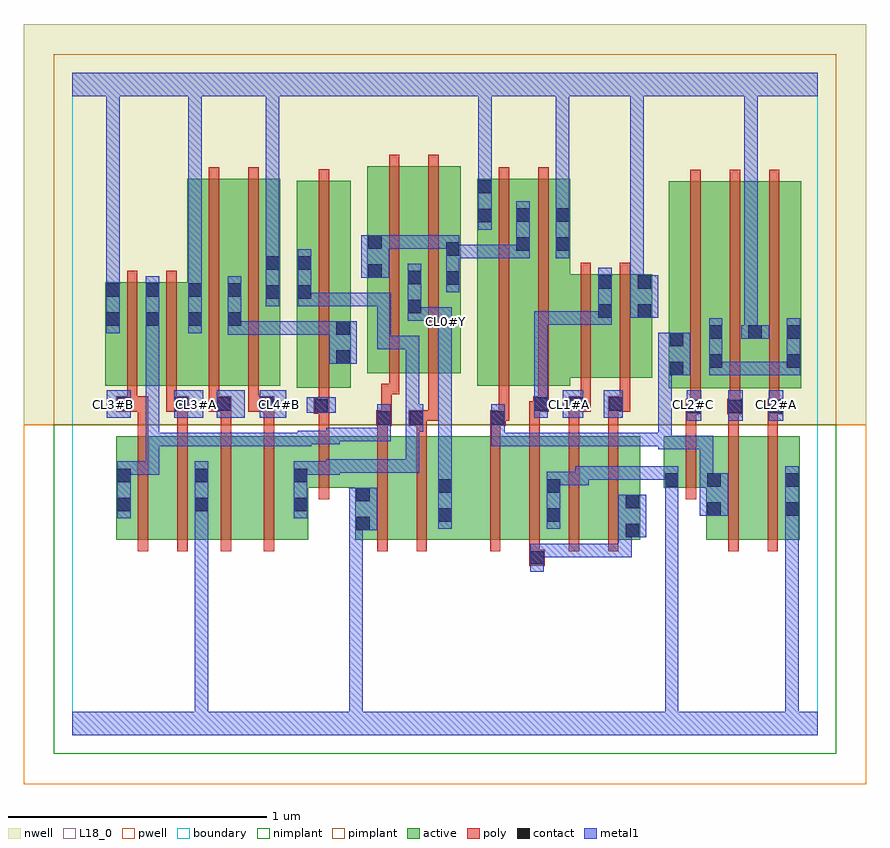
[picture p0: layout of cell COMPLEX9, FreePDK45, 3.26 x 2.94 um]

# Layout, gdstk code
import gdstk
lib = gdstk.Library(unit=1e-6, precision=1e-09)
def R(c, l, rs):  # rectangles x0, y0, x1, y1
    for r in rs: c.add(gdstk.rectangle(r[:2], r[2:], *l))
def A(c, l, x, y, w, h, nx, ny, dx, dy):  # array of equal rectangles
    R(c, l, [(x+i*dx, y+j*dy, x+i*dx+w, y+j*dy+h) for i in range(nx) for j in range(ny)])
active = (1, 0)
pwell = (2, 0)
nwell = (3, 0)
nimplant = (4, 0)
pimplant = (5, 0)
poly = (9, 0)
contact = (10, 0)
metal1 = (11, 0)
L18_0 = (18, 0)
boundary = (235, 0)

complex9 = lib.new_cell('COMPLEX9')
R(complex9, active, [(0.17,0.756,0.23,1.156), (0.17,0.756,0.35,1.156), (0.35,0.756,0.53,1.156), (0.47,0.756,0.53,1.156), (0.47,0.756,0.684,1.156), (0.684,0.756,0.912,1.156), (1.094,0.756,1.154,1.156), (1.094,0.756,1.274,1.156), (1.274,0.756,1.47,1.156), (1.41,0.756,1.47,1.156), (1.41,0.756,1.71,1.156), (1.71,0.756,1.89,1.156), (1.83,0.756,1.89,1.156), (1.83,0.756,2.014,1.156), (2.014,0.756,2.194,1.156), (2.134,0.756,2.194,1.156), (2.45,0.756,2.51,1.156), (2.45,0.756,2.63,1.156), (2.63,0.756,2.81,1.156), (2.75,0.756,2.81,1.156), (0.852,0.862,0.912,1.156), (0.852,0.956,1.154,1.156), (2.286,0.956,2.51,1.156), (2.286,0.956,2.346,1.156), (2.304,1.34,2.364,2.044), (2.304,1.34,2.516,2.14), (2.456,1.34,2.516,2.044), (2.456,1.34,2.668,2.14), (2.608,1.34,2.816,2.14), (2.608,1.34,2.668,2.14), (2.756,1.34,2.816,2.044), (0.868,1.342,1.076,2.142), (0.868,1.342,0.928,2.044), (1.016,1.342,1.076,2.044), (0.128,1.35,0.188,1.75), (0.128,1.35,0.34,1.75), (0.28,1.35,0.34,1.75), (0.28,1.35,0.504,1.75), (0.444,1.35,0.504,2.15), (0.444,1.35,0.656,2.15), (0.596,1.35,0.804,2.15), (0.596,1.35,0.656,2.044), (0.744,1.35,0.804,2.044), (1.564,1.35,1.772,2.15), (1.564,1.35,1.624,2.15), (1.712,1.35,1.924,2.15), (1.864,1.382,2.088,1.782), (1.864,1.382,1.924,2.04), (2.028,1.382,2.24,1.782), (2.18,1.382,2.24,1.782), (1.14,1.398,1.352,2.198), (1.292,1.398,1.5,2.198), (1.44,1.398,1.5,2.044), (1.14,1.452,1.2,2.044), (2.028,1.474,2.088,1.782), (1.292,1.626,1.352,2.044), (1.712,1.686,1.772,2.044)])
R(complex9, pwell, [(-0.188,-0.188,3.068,1.2)])
R(complex9, nwell, [(-0.188,1.2,3.068,2.748)])
R(complex9, nimplant, [(-0.072,-0.072,2.952,1.2)])
R(complex9, pimplant, [(-0.072,1.2,2.952,2.632)])
A(complex9, poly, 1.614, 0.712, 0.04, 0.488, 4, 1, 0.152, 0)
A(complex9, poly, 1.766, 1.16, 0.04, 0.13, 3, 1, 0.152, 0)
A(complex9, poly, 2.388, 1.26, 0.04, 0.076, 3, 1, 0.152, 0)
A(complex9, poly, 2.388, 1.296, 0.04, 0.888, 3, 1, 0.152, 0)
R(complex9, poly, [(1.766,0.656,1.826,0.716), (1.766,0.676,1.806,0.752), (0.254,0.712,0.294,1.2), (0.406,0.712,0.446,1.2), (0.574,0.712,0.614,1.2), (0.74,0.712,0.78,1.2), (1.178,0.712,1.218,1.2), (1.33,0.712,1.37,1.2), (2.534,0.712,2.574,1.2), (2.686,0.712,2.726,1.2), (0.952,0.912,0.992,1.2), (2.37,0.912,2.41,1.2), (0.254,1.16,0.294,1.29), (0.406,1.16,0.446,1.29), (0.574,1.16,0.614,1.29), (0.74,1.16,0.78,1.29), (0.952,1.16,0.992,1.282), (1.178,1.16,1.218,1.236), (1.33,1.16,1.37,1.236), (1.614,1.16,1.654,1.236), (2.37,1.16,2.41,1.28), (2.534,1.16,2.574,1.28), (2.686,1.16,2.726,1.28), (1.174,1.196,1.234,1.256), (1.3,1.196,1.37,1.256), (1.614,1.196,1.674,1.256), (1.194,1.216,1.234,1.358), (1.33,1.216,1.37,1.256), (1.33,1.216,1.416,1.256), (1.376,1.216,1.416,1.394), (1.634,1.216,1.674,1.256), (1.634,1.216,1.688,1.256), (1.648,1.216,1.688,1.346), (2.37,1.24,2.41,1.28), (2.37,1.24,2.41,1.28), (2.37,1.24,2.43,1.3), (2.53,1.24,2.59,1.3), (2.686,1.24,2.746,1.3), (0.932,1.242,0.992,1.302), (0.952,1.242,0.992,1.282), (0.952,1.242,0.992,1.282), (0.17,1.25,0.294,1.31), (0.364,1.25,0.45,1.31), (0.406,1.25,0.446,1.29), (0.406,1.25,0.446,1.29), (0.528,1.25,0.614,1.31), (0.574,1.25,0.614,1.29), (0.574,1.25,0.614,1.29), (0.68,1.25,0.78,1.31), (0.74,1.25,0.78,1.29), (0.74,1.25,0.78,1.29), (1.766,1.25,1.82,1.29), (1.78,1.25,1.82,1.29), (1.78,1.25,1.84,1.31), (1.918,1.25,1.958,1.29), (1.918,1.25,1.958,1.29), (1.918,1.25,2.004,1.31), (2.07,1.25,2.11,1.29), (2.07,1.25,2.11,1.29), (2.07,1.25,2.156,1.31), (2.54,1.26,2.58,1.3), (2.54,1.26,2.58,1.3), (2.692,1.26,2.732,1.3), (2.692,1.26,2.732,1.3), (0.952,1.262,0.992,1.338), (0.212,1.27,0.252,1.346), (0.212,1.27,0.252,1.31), (0.212,1.27,0.252,1.31), (0.364,1.27,0.404,1.346), (0.528,1.27,0.568,1.346), (0.68,1.27,0.72,1.346), (1.8,1.27,1.84,1.346), (1.964,1.27,2.004,1.378), (2.116,1.27,2.156,1.378), (0.952,1.298,0.992,2.186), (0.212,1.306,0.252,1.794), (0.364,1.306,0.404,1.794), (0.528,1.306,0.568,2.194), (0.68,1.306,0.72,2.194), (1.648,1.306,1.688,2.194), (1.8,1.306,1.84,2.194), (1.194,1.318,1.264,1.358), (1.224,1.318,1.264,1.394), (1.964,1.338,2.004,1.826), (2.116,1.338,2.156,1.826), (1.224,1.354,1.264,2.242), (1.376,1.354,1.416,2.242)])
R(complex9, contact, [(1.77,0.66,1.822,0.712), (2.138,0.766,2.19,0.818), (1.098,0.792,1.15,0.844), (1.414,0.826,1.466,0.878), (1.834,0.826,1.886,0.878), (2.454,0.848,2.506,0.9), (2.754,0.848,2.806,0.9), (0.174,0.866,0.226,0.918), (0.474,0.866,0.526,0.918), (0.856,0.866,0.908,0.918), (2.138,0.878,2.19,0.93), (1.098,0.904,1.15,0.956), (1.414,0.938,1.466,0.99), (1.834,0.938,1.886,0.99), (2.29,0.96,2.342,1.012), (2.454,0.96,2.506,1.012), (2.754,0.96,2.806,1.012), (0.174,0.978,0.226,1.03), (0.474,0.978,0.526,1.03), (0.856,0.978,0.908,1.03), (1.178,1.2,1.23,1.252), (1.304,1.2,1.356,1.252), (1.618,1.2,1.67,1.252), (2.374,1.244,2.426,1.296), (2.534,1.244,2.586,1.296), (2.69,1.244,2.742,1.296), (0.936,1.246,0.988,1.298), (0.174,1.254,0.226,1.306), (0.394,1.254,0.446,1.306), (0.558,1.254,0.61,1.306), (0.724,1.254,0.776,1.306), (1.784,1.254,1.836,1.306), (1.922,1.254,1.974,1.306), (2.074,1.254,2.126,1.306), (2.308,1.392,2.36,1.444), (2.46,1.42,2.512,1.472), (2.76,1.42,2.812,1.472), (1.02,1.436,1.072,1.488), (2.308,1.504,2.36,1.556), (2.46,1.532,2.512,1.584), (2.612,1.532,2.664,1.584), (2.76,1.532,2.812,1.584), (1.02,1.548,1.072,1.6), (0.132,1.582,0.184,1.634), (0.284,1.582,0.336,1.634), (0.448,1.582,0.5,1.634), (0.6,1.582,0.652,1.634), (2.032,1.614,2.084,1.666), (2.184,1.614,2.236,1.666), (1.296,1.63,1.348,1.682), (0.748,1.686,0.8,1.738), (0.872,1.686,0.924,1.738), (0.132,1.694,0.184,1.746), (0.284,1.694,0.336,1.746), (0.448,1.694,0.5,1.746), (0.6,1.694,0.652,1.746), (2.032,1.726,2.084,1.778), (2.184,1.726,2.236,1.778), (1.444,1.74,1.496,1.792), (1.296,1.742,1.348,1.794), (1.144,1.768,1.196,1.82), (0.748,1.798,0.8,1.85), (0.872,1.798,0.924,1.85), (1.444,1.852,1.496,1.904), (1.716,1.872,1.768,1.924), (1.868,1.872,1.92,1.924), (1.144,1.88,1.196,1.932), (1.568,1.982,1.62,2.034), (1.716,1.984,1.768,2.036), (1.868,1.984,1.92,2.036), (1.568,2.094,1.62,2.146)])
R(complex9, metal1, [(0,0,2.88,0.092), (0.474,0.04,0.526,0.89), (1.07,0.04,1.122,0.844), (2.29,0.04,2.342,0.092), (2.29,0.04,2.342,0.092), (2.29,0.04,2.342,0.092), (2.29,0.04,2.342,0.092), (2.29,0.04,2.342,0.092), (2.29,0.04,2.342,0.092), (2.29,0.04,2.342,0.092), (2.29,0.04,2.342,0.092), (2.29,0.04,2.342,0.092), (2.29,0.04,2.342,0.092), (2.29,0.04,2.342,0.092), (2.29,0.04,2.342,0.092), (2.29,0.04,2.342,0.984), (2.754,0.04,2.806,0.092), (2.754,0.04,2.806,0.092), (2.754,0.04,2.806,0.092), (2.754,0.04,2.806,0.092), (2.754,0.04,2.806,0.092), (2.754,0.04,2.806,0.092), (2.754,0.04,2.806,0.092), (2.754,0.04,2.806,0.092), (2.754,0.04,2.806,0.092), (2.754,0.04,2.806,0.092), (2.754,0.04,2.806,0.872), (1.77,0.632,1.822,0.74), (1.77,0.688,1.822,0.74), (1.77,0.688,1.822,0.74), (1.77,0.688,1.996,0.74), (1.944,0.688,1.996,0.74), (1.944,0.688,1.996,0.74), (1.944,0.688,1.996,0.74), (1.944,0.688,2.162,0.74), (2.11,0.688,2.162,0.74), (2.11,0.688,2.162,0.74), (2.11,0.688,2.162,0.74), (2.11,0.688,2.162,0.818), (2.11,0.766,2.218,0.93), (1.07,0.792,1.122,0.844), (1.07,0.792,1.122,0.844), (1.07,0.792,1.122,0.844), (1.07,0.792,1.122,0.844), (1.07,0.792,1.122,0.844), (1.07,0.792,1.122,0.844), (1.07,0.792,1.122,0.844), (1.07,0.792,1.122,0.844), (1.07,0.792,1.122,0.844), (1.07,0.792,1.122,0.844), (1.07,0.792,1.122,0.844), (1.07,0.792,1.122,0.844), (1.07,0.792,1.178,0.956), (1.414,0.798,1.466,1.018), (1.834,0.798,1.886,1.018), (2.754,0.82,2.806,0.872), (2.754,0.82,2.806,0.872), (2.754,0.82,2.806,1.04), (0.174,0.838,0.226,1.058), (0.474,0.838,0.526,0.89), (0.474,0.838,0.526,0.89), (0.474,0.838,0.526,0.89), (0.474,0.838,0.526,0.89), (0.474,0.838,0.526,0.89), (0.474,0.838,0.526,0.89), (0.474,0.838,0.526,0.89), (0.474,0.838,0.526,0.89), (0.474,0.838,0.526,0.89), (0.474,0.838,0.526,0.89), (0.474,0.838,0.526,0.89), (0.474,0.838,0.526,0.89), (0.474,0.838,0.526,1.058), (0.856,0.838,0.908,1.058), (2.424,0.848,2.534,1.012), (2.29,0.932,2.342,0.984), (2.29,0.932,2.342,0.984), (2.29,0.932,2.342,0.984), (2.29,0.932,2.342,0.984), (2.29,0.932,2.342,1.04), (2.424,0.96,2.476,1.158), (1.414,0.966,1.466,1.598), (1.834,0.966,1.996,1.018), (1.944,0.966,1.996,1.04), (1.944,0.988,1.996,1.04), (1.944,0.988,1.996,1.04), (1.944,0.988,2.206,1.04), (2.154,0.988,2.206,1.04), (2.154,0.988,2.206,1.04), (2.154,0.988,2.206,1.04), (2.154,0.988,2.342,1.04), (2.29,0.988,2.342,1.04), (2.29,0.988,2.342,1.04), (0.174,1.006,0.226,1.058), (0.174,1.006,0.226,1.058), (0.174,1.006,0.336,1.058), (0.284,1.006,0.336,1.058), (0.284,1.006,0.336,1.168), (0.856,1.006,0.908,1.058), (0.856,1.006,0.908,1.058), (0.856,1.006,1.034,1.058), (0.982,1.006,1.034,1.066), (0.982,1.014,1.034,1.066), (0.982,1.014,1.034,1.066), (0.982,1.014,1.21,1.066), (1.158,1.014,1.21,1.066), (1.158,1.014,1.34,1.066), (1.288,1.014,1.34,1.066), (1.288,1.014,1.34,1.224), (2.264,1.106,2.476,1.158), (2.264,1.106,2.316,1.168), (2.424,1.106,2.476,1.158), (2.424,1.106,2.476,1.158), (2.424,1.106,2.476,1.158), (0.284,1.116,0.336,1.168), (0.284,1.116,0.336,1.168), (0.284,1.116,0.336,1.168), (0.284,1.116,0.336,1.168), (0.284,1.116,0.336,1.168), (0.284,1.116,0.446,1.168), (0.284,1.116,0.336,1.606), (0.394,1.116,0.446,1.168), (0.394,1.116,0.446,1.168), (0.394,1.116,0.446,1.168), (0.394,1.116,0.666,1.168), (0.614,1.116,0.666,1.168), (0.614,1.116,0.666,1.168), (0.614,1.116,0.666,1.168), (0.614,1.116,0.776,1.168), (0.724,1.116,0.776,1.168), (0.724,1.116,0.776,1.168), (0.724,1.116,0.776,1.168), (0.724,1.116,0.924,1.168), (0.872,1.116,0.924,1.176), (1.618,1.116,1.78,1.168), (1.618,1.116,1.67,1.224), (1.728,1.116,1.78,1.168), (1.728,1.116,1.78,1.168), (1.728,1.116,1.78,1.168), (1.728,1.116,1.996,1.168), (1.944,1.116,1.996,1.168), (1.944,1.116,1.996,1.168), (1.944,1.116,1.996,1.168), (1.944,1.116,2.106,1.168), (2.054,1.116,2.106,1.168), (2.054,1.116,2.316,1.168), (2.264,1.116,2.316,1.168), (2.264,1.116,2.316,1.168), (2.264,1.116,2.316,1.444), (0.872,1.124,1.034,1.176), (0.982,1.124,1.034,1.188), (0.982,1.136,1.23,1.188), (1.178,1.136,1.23,1.224), (1.178,1.172,1.23,1.224), (1.178,1.172,1.23,1.28), (1.288,1.172,1.34,1.224), (1.288,1.172,1.356,1.224), (1.288,1.172,1.34,1.544), (1.304,1.172,1.356,1.28), (1.618,1.172,1.67,1.224), (1.618,1.172,1.67,1.28), (2.374,1.216,2.43,1.334), (2.534,1.216,2.59,1.334), (2.69,1.216,2.746,1.334), (0.134,1.226,0.226,1.334), (0.394,1.226,0.506,1.334), (0.558,1.226,0.666,1.334), (0.724,1.226,0.826,1.334), (1.784,1.226,1.836,1.334), (1.894,1.226,1.974,1.334), (2.054,1.226,2.126,1.334), (0.906,1.246,1.018,1.306), (1.784,1.282,1.836,1.334), (1.784,1.282,1.836,1.334), (1.784,1.282,1.836,1.638), (2.264,1.392,2.316,1.444), (2.264,1.392,2.316,1.444), (2.264,1.392,2.388,1.556), (2.46,1.392,2.512,1.612), (2.46,1.392,2.622,1.444), (2.57,1.392,2.622,1.444), (2.57,1.392,2.622,1.444), (2.57,1.392,2.622,1.444), (2.57,1.392,2.812,1.444), (2.76,1.392,2.812,1.444), (2.76,1.392,2.812,1.444), (2.76,1.392,2.812,1.612), (0.992,1.436,1.1,1.6), (1.178,1.492,1.23,1.544), (1.178,1.492,1.23,1.544), (1.178,1.492,1.23,1.544), (1.178,1.492,1.34,1.544), (1.178,1.492,1.23,1.71), (1.288,1.492,1.34,1.544), (2.584,1.532,2.692,1.584), (2.596,1.532,2.648,1.584), (2.596,1.532,2.648,1.584), (2.596,1.532,2.648,2.52), (1.414,1.546,1.466,1.654), (0.6,1.548,0.776,1.6), (0.6,1.548,0.652,1.606), (0.724,1.548,0.776,1.6), (0.724,1.548,0.776,1.6), (0.724,1.548,0.776,1.6), (0.724,1.548,0.924,1.6), (0.872,1.548,0.924,1.6), (0.872,1.548,1.044,1.6), (0.132,1.554,0.184,1.774), (0.284,1.554,0.336,1.774), (0.448,1.554,0.5,1.774), (0.6,1.554,0.652,1.606), (0.6,1.554,0.652,1.774), (1.784,1.586,1.836,1.638), (1.784,1.586,1.996,1.638), (1.944,1.586,1.996,1.638), (1.944,1.586,2.084,1.638), (2.032,1.586,2.084,1.806), (1.296,1.602,1.348,1.654), (1.296,1.602,1.348,1.654), (1.296,1.602,1.348,1.822), (1.296,1.602,1.466,1.654), (1.414,1.602,1.466,1.654), (1.414,1.602,1.466,1.654), (1.414,1.602,1.466,1.654), (1.414,1.602,1.466,1.654), (2.156,1.614,2.264,1.778), (0.748,1.658,0.8,1.878), (0.872,1.658,0.924,1.71), (0.872,1.658,0.924,1.71), (0.872,1.658,0.924,1.878), (0.872,1.658,1.034,1.71), (0.982,1.658,1.034,1.71), (0.982,1.658,1.23,1.71), (1.178,1.658,1.23,1.71), (1.178,1.658,1.23,1.71), (1.178,1.658,1.23,1.71), (1.444,1.712,1.496,1.932), (0.132,1.722,0.184,1.774), (0.132,1.722,0.184,1.774), (0.132,1.722,0.184,1.774), (0.132,1.722,0.184,1.774), (0.132,1.722,0.184,1.774), (0.132,1.722,0.184,1.774), (0.132,1.722,0.184,2.52), (0.448,1.722,0.5,2.52), (2.156,1.726,2.208,2.52), (1.116,1.768,1.224,1.932), (0.748,1.826,0.8,2.52), (1.444,1.844,1.496,1.896), (1.444,1.844,1.496,1.896), (1.444,1.844,1.606,1.896), (1.554,1.844,1.606,1.896), (1.554,1.844,1.768,1.896), (1.716,1.844,1.768,2.064), (1.868,1.844,1.92,2.064), (1.172,1.88,1.224,1.932), (1.172,1.88,1.224,1.932), (1.172,1.88,1.356,1.932), (1.304,1.88,1.356,1.932), (1.304,1.88,1.356,1.932), (1.304,1.88,1.356,1.932), (1.304,1.88,1.496,1.932), (1.568,1.954,1.62,2.174), (1.868,2.012,1.92,2.52), (1.568,2.122,1.62,2.174), (1.568,2.122,1.62,2.174), (1.568,2.122,1.62,2.174), (1.568,2.122,1.62,2.174), (1.568,2.122,1.62,2.52), (0,2.468,2.88,2.56), (0.132,2.468,0.184,2.52), (0.132,2.468,0.184,2.52), (0.132,2.468,0.184,2.52), (0.132,2.468,0.184,2.52), (0.132,2.468,0.184,2.52), (0.132,2.468,0.184,2.52), (0.132,2.468,0.184,2.52), (0.132,2.468,0.184,2.52), (0.132,2.468,0.184,2.52), (0.132,2.468,0.184,2.52), (0.448,2.468,0.5,2.52), (0.448,2.468,0.5,2.52), (0.448,2.468,0.5,2.52), (0.448,2.468,0.5,2.52), (0.448,2.468,0.5,2.52), (0.448,2.468,0.5,2.52), (0.448,2.468,0.5,2.52), (0.448,2.468,0.5,2.52), (0.748,2.468,0.8,2.52), (0.748,2.468,0.8,2.52), (0.748,2.468,0.8,2.52), (0.748,2.468,0.8,2.52), (0.748,2.468,0.8,2.52), (0.748,2.468,0.8,2.52), (0.748,2.468,0.8,2.52), (0.748,2.468,0.8,2.52), (1.568,2.468,1.62,2.52), (1.568,2.468,1.62,2.52), (1.568,2.468,1.62,2.52), (1.568,2.468,1.62,2.52), (1.868,2.468,1.92,2.52), (1.868,2.468,1.92,2.52), (1.868,2.468,1.92,2.52), (1.868,2.468,1.92,2.52), (1.868,2.468,1.92,2.52), (1.868,2.468,1.92,2.52), (1.868,2.468,1.92,2.52), (1.868,2.468,1.92,2.52), (2.156,2.468,2.208,2.52), (2.156,2.468,2.208,2.52), (2.156,2.468,2.208,2.52), (2.156,2.468,2.208,2.52), (2.156,2.468,2.208,2.52), (2.156,2.468,2.208,2.52), (2.156,2.468,2.208,2.52), (2.156,2.468,2.208,2.52), (2.156,2.468,2.208,2.52), (2.156,2.468,2.208,2.52), (2.156,2.468,2.208,2.52), (2.156,2.468,2.208,2.52), (2.156,2.468,2.208,2.52), (2.156,2.468,2.208,2.52), (2.156,2.468,2.208,2.52), (2.156,2.468,2.208,2.52), (2.596,2.468,2.648,2.52), (2.596,2.468,2.648,2.52), (2.596,2.468,2.648,2.52), (2.596,2.468,2.648,2.52), (2.596,2.468,2.648,2.52), (2.596,2.468,2.648,2.52)])
A(complex9, L18_0, 0.454, 1.254, 0.052, 0.052, 4, 1, 0.16, 0)
A(complex9, L18_0, 2.374, 1.254, 0.052, 0.052, 3, 1, 0.16, 0)
R(complex9, L18_0, [(0,0,2.88,0.092), (0.474,0.04,0.526,0.89), (1.07,0.04,1.122,0.844), (2.29,0.04,2.342,0.092), (2.29,0.04,2.342,0.092), (2.29,0.04,2.342,0.092), (2.29,0.04,2.342,0.092), (2.29,0.04,2.342,0.092), (2.29,0.04,2.342,0.092), (2.29,0.04,2.342,0.092), (2.29,0.04,2.342,0.092), (2.29,0.04,2.342,0.092), (2.29,0.04,2.342,0.092), (2.29,0.04,2.342,0.092), (2.29,0.04,2.342,0.092), (2.29,0.04,2.342,0.984), (2.754,0.04,2.806,0.092), (2.754,0.04,2.806,0.092), (2.754,0.04,2.806,0.092), (2.754,0.04,2.806,0.092), (2.754,0.04,2.806,0.092), (2.754,0.04,2.806,0.092), (2.754,0.04,2.806,0.092), (2.754,0.04,2.806,0.092), (2.754,0.04,2.806,0.092), (2.754,0.04,2.806,0.092), (2.754,0.04,2.806,0.872), (1.07,0.792,1.122,0.844), (1.07,0.792,1.122,0.844), (1.07,0.792,1.122,0.844), (1.07,0.792,1.122,0.844), (1.07,0.792,1.122,0.844), (1.07,0.792,1.122,0.844), (1.07,0.792,1.122,0.844), (1.07,0.792,1.122,0.844), (1.07,0.792,1.122,0.844), (1.07,0.792,1.122,0.844), (1.07,0.792,1.122,0.844), (1.07,0.792,1.122,0.844), (1.07,0.792,1.178,0.956), (1.414,0.798,1.466,1.018), (1.834,0.798,1.886,1.018), (2.754,0.82,2.806,1.04), (2.754,0.82,2.806,0.872), (2.754,0.82,2.806,0.872), (0.474,0.838,0.526,1.058), (0.474,0.838,0.526,0.89), (0.474,0.838,0.526,0.89), (0.474,0.838,0.526,0.89), (0.474,0.838,0.526,0.89), (0.474,0.838,0.526,0.89), (0.474,0.838,0.526,0.89), (0.474,0.838,0.526,0.89), (0.474,0.838,0.526,0.89), (0.474,0.838,0.526,0.89), (0.474,0.838,0.526,0.89), (0.474,0.838,0.526,0.89), (0.474,0.838,0.526,0.89), (2.29,0.932,2.342,0.984), (2.29,0.932,2.342,0.984), (2.29,0.932,2.342,0.984), (2.29,0.932,2.342,0.984), (2.29,0.932,2.342,1.04), (1.414,0.966,1.466,1.598), (1.834,0.966,1.996,1.018), (1.944,0.966,1.996,1.04), (1.944,0.988,1.996,1.04), (1.944,0.988,1.996,1.04), (1.944,0.988,2.206,1.04), (2.154,0.988,2.206,1.04), (2.154,0.988,2.206,1.04), (2.154,0.988,2.206,1.04), (2.154,0.988,2.342,1.04), (2.29,0.988,2.342,1.04), (2.29,0.988,2.342,1.04), (2.374,1.216,2.43,1.334), (2.534,1.216,2.59,1.334), (2.69,1.216,2.746,1.334), (0.134,1.226,0.226,1.334), (0.394,1.226,0.506,1.334), (0.558,1.226,0.666,1.334), (0.724,1.226,0.826,1.334), (1.894,1.226,1.974,1.334), (2.054,1.226,2.126,1.334), (0.906,1.246,1.018,1.306), (0.134,1.254,0.186,1.306), (1.894,1.254,1.946,1.306), (2.054,1.254,2.106,1.306), (2.584,1.532,2.692,1.584), (2.596,1.532,2.648,1.584), (2.596,1.532,2.648,1.584), (2.596,1.532,2.648,2.52), (1.414,1.546,1.466,1.654), (0.132,1.554,0.184,1.774), (0.448,1.554,0.5,1.774), (1.414,1.574,1.466,1.626), (1.296,1.602,1.348,1.822), (1.296,1.602,1.348,1.654), (1.296,1.602,1.348,1.654), (1.296,1.602,1.466,1.654), (1.414,1.602,1.466,1.654), (1.414,1.602,1.466,1.654), (1.414,1.602,1.466,1.654), (1.414,1.602,1.466,1.654), (2.156,1.614,2.264,1.778), (0.748,1.658,0.8,1.878), (0.132,1.722,0.184,1.774), (0.132,1.722,0.184,1.774), (0.132,1.722,0.184,1.774), (0.132,1.722,0.184,1.774), (0.132,1.722,0.184,1.774), (0.132,1.722,0.184,1.774), (0.132,1.722,0.184,2.52), (0.448,1.722,0.5,2.52), (2.156,1.726,2.208,2.52), (0.748,1.826,0.8,2.52), (1.868,1.844,1.92,2.064), (1.568,1.954,1.62,2.174), (1.868,2.012,1.92,2.52), (1.568,2.122,1.62,2.174), (1.568,2.122,1.62,2.174), (1.568,2.122,1.62,2.174), (1.568,2.122,1.62,2.174), (1.568,2.122,1.62,2.52), (0,2.468,2.88,2.56), (0.132,2.468,0.184,2.52), (0.132,2.468,0.184,2.52), (0.132,2.468,0.184,2.52), (0.132,2.468,0.184,2.52), (0.132,2.468,0.184,2.52), (0.132,2.468,0.184,2.52), (0.132,2.468,0.184,2.52), (0.132,2.468,0.184,2.52), (0.132,2.468,0.184,2.52), (0.132,2.468,0.184,2.52), (0.448,2.468,0.5,2.52), (0.448,2.468,0.5,2.52), (0.448,2.468,0.5,2.52), (0.448,2.468,0.5,2.52), (0.448,2.468,0.5,2.52), (0.448,2.468,0.5,2.52), (0.448,2.468,0.5,2.52), (0.448,2.468,0.5,2.52), (0.748,2.468,0.8,2.52), (0.748,2.468,0.8,2.52), (0.748,2.468,0.8,2.52), (0.748,2.468,0.8,2.52), (0.748,2.468,0.8,2.52), (0.748,2.468,0.8,2.52), (0.748,2.468,0.8,2.52), (0.748,2.468,0.8,2.52), (1.568,2.468,1.62,2.52), (1.568,2.468,1.62,2.52), (1.568,2.468,1.62,2.52), (1.568,2.468,1.62,2.52), (1.868,2.468,1.92,2.52), (1.868,2.468,1.92,2.52), (1.868,2.468,1.92,2.52), (1.868,2.468,1.92,2.52), (1.868,2.468,1.92,2.52), (1.868,2.468,1.92,2.52), (1.868,2.468,1.92,2.52), (1.868,2.468,1.92,2.52), (2.156,2.468,2.208,2.52), (2.156,2.468,2.208,2.52), (2.156,2.468,2.208,2.52), (2.156,2.468,2.208,2.52), (2.156,2.468,2.208,2.52), (2.156,2.468,2.208,2.52), (2.156,2.468,2.208,2.52), (2.156,2.468,2.208,2.52), (2.156,2.468,2.208,2.52), (2.156,2.468,2.208,2.52), (2.156,2.468,2.208,2.52), (2.156,2.468,2.208,2.52), (2.156,2.468,2.208,2.52), (2.156,2.468,2.208,2.52), (2.156,2.468,2.208,2.52), (2.156,2.468,2.208,2.52), (2.596,2.468,2.648,2.52), (2.596,2.468,2.648,2.52), (2.596,2.468,2.648,2.52), (2.596,2.468,2.648,2.52), (2.596,2.468,2.648,2.52), (2.596,2.468,2.648,2.52)])
R(complex9, boundary, [(0,0,2.88,2.56)])
complex9.add(gdstk.Label('CL0#Y', (1.44,1.6), layer=11, texttype=0))
complex9.add(gdstk.Label('CL1#A', (1.92,1.28), layer=11, texttype=0))
complex9.add(gdstk.Label('CL1#B', (2.08,1.28), layer=11, texttype=0))
complex9.add(gdstk.Label('CL2#A', (2.72,1.28), layer=11, texttype=0))
complex9.add(gdstk.Label('CL2#B', (2.56,1.28), layer=11, texttype=0))
complex9.add(gdstk.Label('CL2#C', (2.4,1.28), layer=11, texttype=0))
complex9.add(gdstk.Label('CL3#A', (0.48,1.28), layer=11, texttype=0))
complex9.add(gdstk.Label('CL3#B', (0.16,1.28), layer=11, texttype=0))
complex9.add(gdstk.Label('CL4#A', (0.64,1.28), layer=11, texttype=0))
complex9.add(gdstk.Label('CL4#B', (0.8,1.28), layer=11, texttype=0))
complex9.add(gdstk.Label('CL4#C', (0.96,1.28), layer=11, texttype=0))

lib.write_gds('COMPLEX9.gds')
